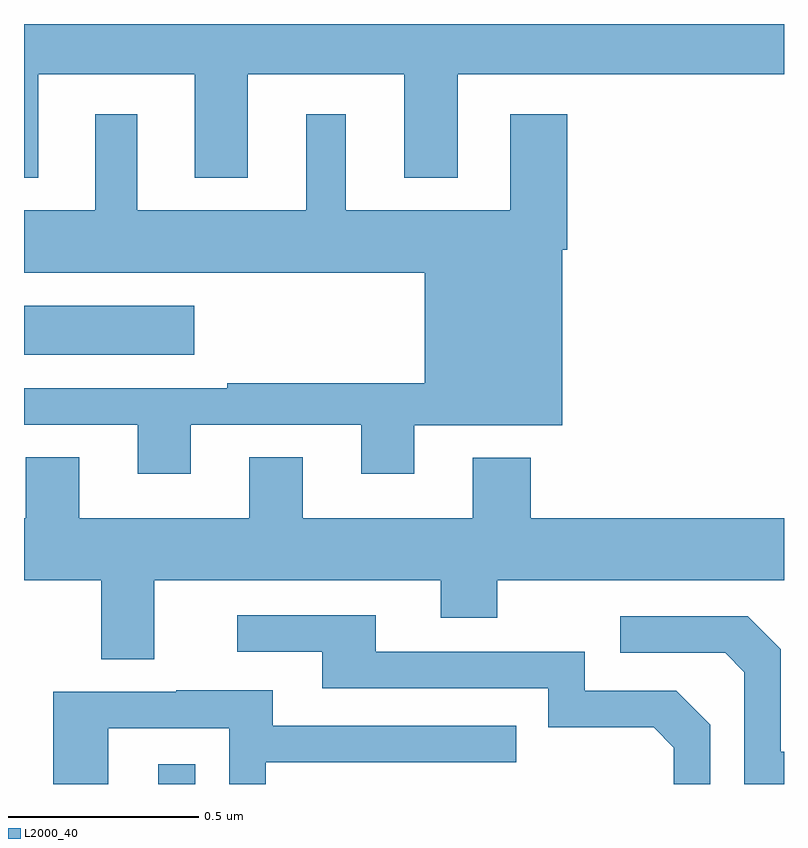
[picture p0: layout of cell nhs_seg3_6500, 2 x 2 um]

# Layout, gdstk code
import gdstk
lib = gdstk.Library(unit=1e-6, precision=1e-09)
def R(c, l, rs):  # rectangles x0, y0, x1, y1
    for r in rs: c.add(gdstk.rectangle(r[:2], r[2:], *l))
def P(c, l, *ps):  # polygons
    for p in ps: c.add(gdstk.Polygon(p, *l))
L2000_40 = (2000, 40)

nhs_seg3_6500 = lib.new_cell('nhs_seg3_6500')
R(nhs_seg3_6500, L2000_40, [(192.353,680.4,192.45,680.452), (192,681.53,192.448,681.658)])
P(nhs_seg3_6500, L2000_40, [(192.037,682.268),(192.449,682.268),(192.449,681.995),(192.589,681.995),(192.589,682.268),(193.001,682.268),(193.001,681.995),(193.141,681.995),(193.141,682.268),(194,682.268),(194,682.4),(192,682.4),(192,681.995),(192.037,681.995)],
  [(192.439,681.345),(192.887,681.345),(192.887,681.216),(193.027,681.216),(193.027,681.344),(193.417,681.344),(193.417,681.806),(193.43,681.806),(193.43,682.162),(193.28,682.162),(193.28,681.91),(192.847,681.91),(192.847,682.162),(192.743,682.162),(192.743,681.91),(192.298,681.91),(192.298,682.162),(192.188,682.162),(192.188,681.91),(192,681.91),(192,681.746),(193.055,681.746),(193.055,681.454),(192.535,681.454),(192.535,681.441),(192,681.441),(192,681.345),(192.299,681.345),(192.299,681.216),(192.439,681.216)],
  [(192.343,680.936),(193.097,680.936),(193.097,680.837),(193.245,680.837),(193.245,680.936),(194,680.936),(194,681.1),(193.334,681.1),(193.334,681.259),(193.181,681.259),(193.181,681.1),(192.733,681.1),(192.733,681.26),(192.593,681.26),(192.593,681.1),(192.145,681.1),(192.145,681.26),(192.005,681.26),(192.005,681.1),(192,681.1),(192,680.936),(192.203,680.936),(192.203,680.728),(192.343,680.728)],
  [(193.806,680.556),(193.716,680.646),(193.476,680.646),(193.476,680.748),(192.925,680.748),(192.925,680.844),(192.561,680.844),(192.561,680.748),(192.785,680.748),(192.785,680.652),(193.38,680.652),(193.38,680.549),(193.657,680.549),(193.71,680.496),(193.71,680.4),(193.806,680.4)],
  [(194,680.485),(193.992,680.485),(193.992,680.754),(193.905,680.841),(193.569,680.841),(193.569,680.745),(193.845,680.745),(193.896,680.694),(193.896,680.4),(194,680.4)],
  [(192.222,680.547),(192.54,680.547),(192.54,680.4),(192.636,680.4),(192.636,680.457),(193.295,680.457),(193.295,680.553),(192.655,680.553),(192.655,680.647),(192.401,680.647),(192.401,680.643),(192.077,680.643),(192.077,680.4),(192.222,680.4)])

lib.write_gds('nhs_seg3_6500.gds')
